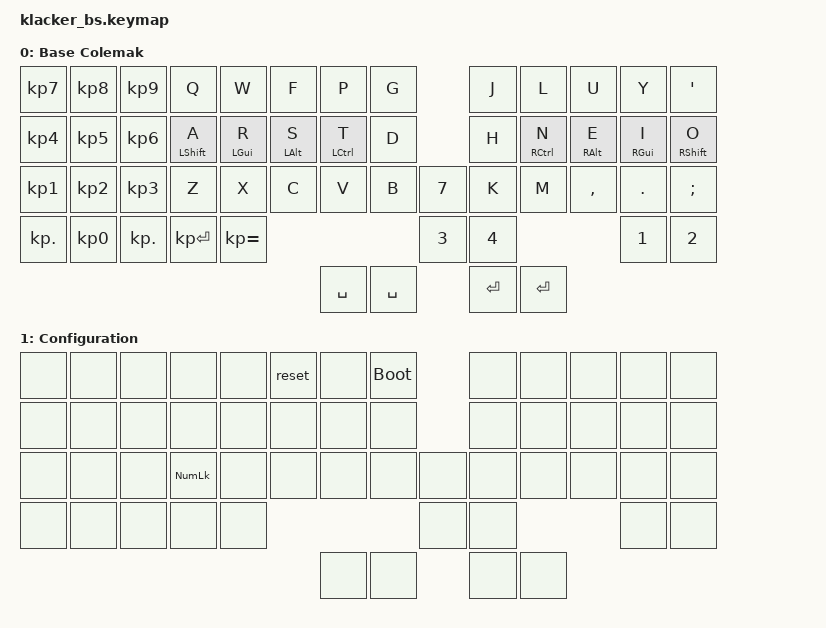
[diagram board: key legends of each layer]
/*
 * Copyright (c) 2021 weteor
 *
 * SPDX-License-Identifier: MIT
 */

#include <behaviors.dtsi>
#include <dt-bindings/zmk/keys.h>
#include <dt-bindings/zmk/bt.h>
#include <dt-bindings/zmk/outputs.h>

#define BAS_CM_L 0
#define CFG_L 1

// repeating space/backspace
&lt { quick_tap_ms = <200>; };

/ {
    combos {
        compatible = "zmk,combos";

        combo_tab {
            timeout-ms = <50>;
            key-positions = <4 5>;
            bindings = <&kp TAB>;
            };
        combo_backspace {
            timeout-ms = <50>;
            key-positions = <10 11>;
            bindings = <&kp BACKSPACE>;
            };
            
        combo_esc {
            timeout-ms = <50>;
            key-positions = <3 4>;
            bindings = <&kp ESCAPE>;
            };

        combo_cfgLayer {
            timeout-ms = <50>;
            key-positions = <50 51>;
            bindings = <&mo CFG_L>;
            };
    };

    behaviors {
        hm: homerow_mods {
            compatible = "zmk,behavior-hold-tap";
            label = "homerow mods";
            #binding-cells = <2>;
            tapping_term_ms = <180>;
            flavor = "tap-preferred";
            bindings = <&kp>, <&kp>;
        };
    };
    
// COMBOS
// Q + W - escape
// W + F - tab
// U + Y - backspace
// both inner thumbs -> Layer CFG

    keymap {
        compatible = "zmk,keymap";

        default_layer {
            label = "Base Colemak";
// -------------------------------     -------------------------------
// |  Q  |  W  |  F  |  P  |  G  |  -  |  J  |  L  |  U  |  Y  |  '  | 
// |A sft|R win|S alt|T ctl|  D  | MUT |  H  |N ctl|E alt|I win|O sft| 
// |  Z  |  X  |  C  |  V  |  B  |  -  |  K  |  M  |  ,  |  .  |  ;  | 
// ------|    Spc    |    Nav    |     |    Sym    |    Ent    |------
//       -------------------------     -------------------------
            bindings = <
                &kp KP_N7     &kp KP_N8    &kp KP_N9                &kp Q        &kp W       &kp F       &kp P       &kp G                    &kp J       &kp L       &kp U       &kp Y       &kp QUOT
                &kp KP_N4     &kp KP_N5    &kp KP_N6                &hm LSHFT A  &hm LGUI R  &hm LALT S  &hm LCTRL T &kp D                    &kp H       &hm RCTRL N &hm RALT E  &hm RGUI I  &hm RSHFT O     
                &kp KP_N1     &kp KP_N2    &kp KP_N3                &kp Z        &kp X       &kp C       &kp V       &kp B       &kp N7       &kp K       &kp M       &kp COMMA   &kp DOT     &kp SEMI        
                &kp KP_DOT    &kp KP_N0    &kp KP_DOT               &kp KP_ENTER &kp KP_EQUAL                               &kp N3    &kp N4                                      &kp N1      &kp N2 
                                                                                                         &kp SPACE   &kp SPACE                &kp RET     &kp RET 
            >;
        };
        
        cfg_layer {
            label = "Configuration";
// -------------------------------     -------------------------------
// |     |     |     |     |     |  -  |PSCRN|     |  ü  |     |     | 
// |  ä  |     |  ß  |     |     | MUT |     |     |     |     |  oe | 
// |numlk|     |     |     |     |  -  |     |     |     |     |     | 
// ------|           |           |     |           |           |------
//       -------------------------     -------------------------
            bindings = <
                &none   &none   &none           &none       &none       &reset       &none       &bootloader                    &none       &none       &none       &none       &none           
                &none   &none   &none           &none       &none       &none        &none       &none                          &none       &none       &none       &none       &none         
                &none   &none   &none           &kp KP_NUM  &none       &none        &none       &none            &none         &none       &none       &none       &none       &none         
                &none   &none   &none           &none       &none                                             &none    &none                                        &none       &none         
                                                                                     &none       &none                          &none       &none
            >;
        };
    };
};


